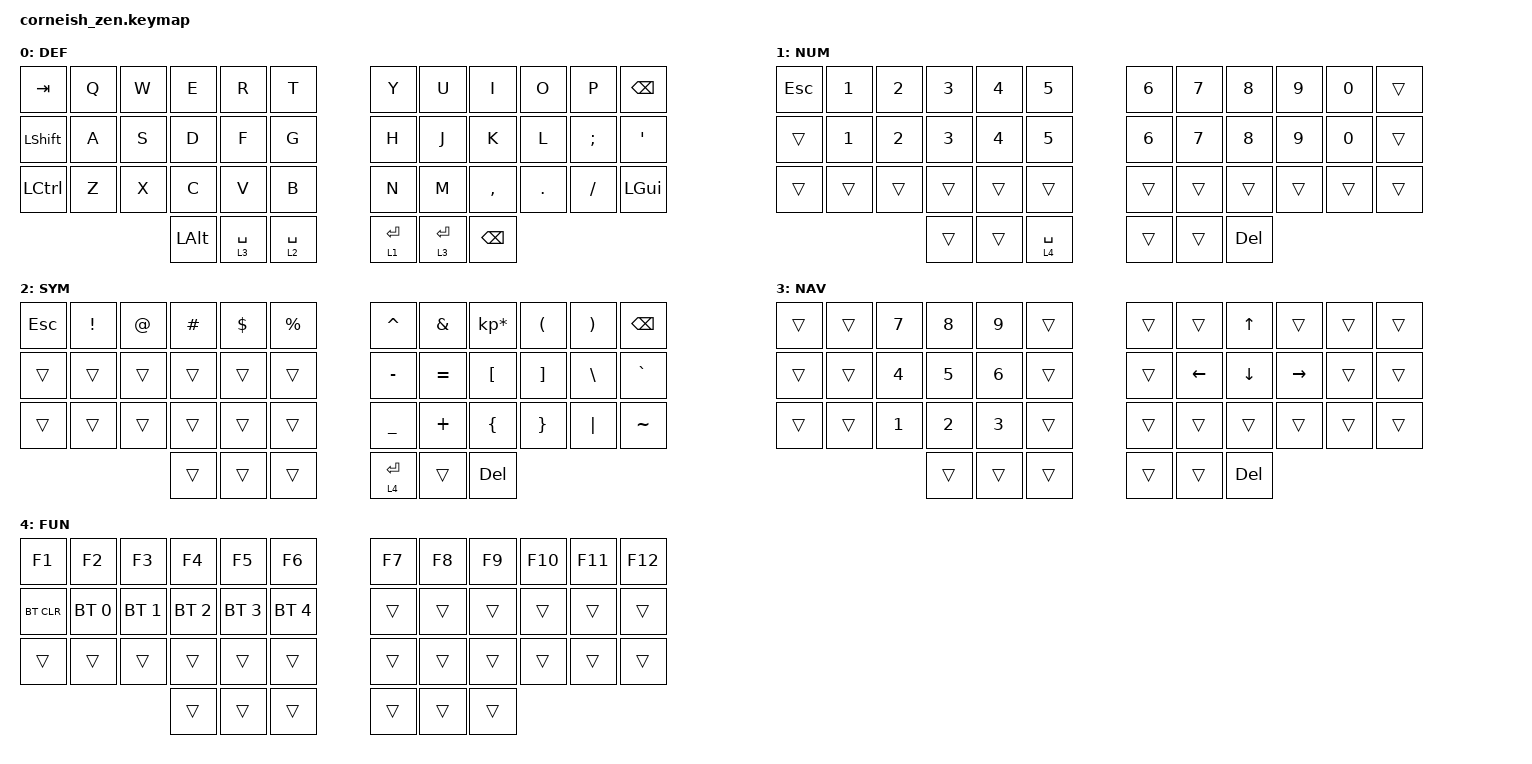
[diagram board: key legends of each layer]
/*
*
* Copyright (c) 2021 Darryl deHaan
* SPDX-License-Identifier: MIT
*
*/

#include <behaviors.dtsi>
#include <dt-bindings/zmk/keys.h>
#include <dt-bindings/zmk/bt.h>
#include <dt-bindings/zmk/outputs.h>

// Layer aliases
#define DEF 0
#define NUM 1
#define SYM 2
#define NAV 3
#define FUN 4

#define QUICK_TAP_MS 175

&mt {
  quick-tap-ms = <80>;
//   global-quick-tap;
  flavor = "balanced";
  tapping-term-ms = <150>;
};

&sk {
		// don't release mods on other mods presses
    ignore-modifiers;
};

&lt {  // layer-tap config
    flavor = "balanced";
    tapping-term-ms = <200>;
    quick-tap-ms = <QUICK_TAP_MS>;
};

/ {

        combos {
            compatible = "zmk,combos";
            combo_n1 {
                timeout-ms = <40>;
                key-positions = <1 13>;
                bindings = <&kp N1>;
            };
            combo_n2 {
                timeout-ms = <40>;
                key-positions = <2 14>;
                bindings = <&kp N2>;
            };
            combo_n3 {
                timeout-ms = <40>;
                key-positions = <3 15>;
                bindings = <&kp N3>;
            };
            combo_n4 {
                timeout-ms = <40>;
                key-positions = <4 16>;
                bindings = <&kp N4>;
            };
            combo_n5 {
                timeout-ms = <40>;
                key-positions = <5 17>;
                bindings = <&kp N5>;
            };
            combo_n6 {
                timeout-ms = <40>;
                key-positions = <6 18>;
                bindings = <&kp N6>;
            }; 
            combo_n7 {
                timeout-ms = <40>;
                key-positions = <7 19>;
                bindings = <&kp N7>;
            }; 
            combo_n8 {
                timeout-ms = <40>;
                key-positions = <8 20>;
                bindings = <&kp N8>;
            }; 
            combo_n9 {
                timeout-ms = <40>;
                key-positions = <9 21>;
                bindings = <&kp N9>;
            }; 
            combo_n0 {
                timeout-ms = <40>;
                key-positions = <10 22>;
                bindings = <&kp N0>;
            };
            combo_minus {
                timeout-ms = <25>;
                key-positions = <18 19>;
                bindings = <&kp MINUS>;
            };
            combo_equal {
                timeout-ms = <25>;
                key-positions = <30 31>;
                bindings = <&kp EQUAL>;
            };
            combo_undo {
			    timeout-ms = <25>;
			    key-positions = <26 27>;
			    bindings = <&kp LC(Z)>;
		};
    };
        behaviors {
            am: alpha_mods {
            compatible = "zmk,behavior-hold-tap";
            label = "ALPHA_MT";
            #binding-cells = <2>;
            tapping-term-ms = <250>;
            quick-tap-ms = <150>;
            flavor = "tap-preferred";
            bindings = <&kp>, <&kp>;
        };
        as: alpha_shift {
            compatible = "zmk,behavior-hold-tap";
            label = "ALPHA_SFT";
            #binding-cells = <2>;
            tapping-term-ms = <200>;
            quick-tap-ms = <150>;
            flavor = "tap-preferred";
            bindings = <&kp>, <&kp>;
        };

        // Easy alt-tab with alt+backspace thumb using mod-morphs
        bstab: backspace_tab {
            compatible = "zmk,behavior-mod-morph";
            label = "BSPC_TAB";
            #binding-cells = <0>;
            bindings = <&kp BSPC>, <&kp TAB>;
            mods = <MOD_LALT>;
        };
        lt_bspc: layer_tap_backspace_tab {
            compatible = "zmk,behavior-hold-tap";
            label = "LT_BT";
            #binding-cells = <2>;
            tapping-term-ms = <150>;
            flavor = "balanced";
            bindings = <&mo>, <&bstab>;
        };
    };
        keymap {
                compatible = "zmk,keymap";

                default_layer {
                        label = "DEF";
                        bindings = <
   &kp TAB   &kp Q       &kp W         &kp E         &kp R         &kp T         &kp Y      &kp U       &kp I          &kp O        &kp P          &kp BSPC
   &kp LSHFT &kp A       &kp S         &kp D         &kp F         &kp G         &kp H      &kp J       &kp K          &kp L        &kp SEMI       &kp SQT
   &kp LCTRL &kp Z       &kp X         &kp C         &kp V         &kp B         &kp N      &kp M       &kp COMMA      &kp DOT      &kp FSLH       &kp LGUI
                                       &kp LALT      &lt 3 SPACE   &lt 2 SPACE   &lt 1 RET  &lt 3 RET   &kp BSPC
                        >;
                };
                number_layer {
                        label = "NUM";
                        bindings = <
   &kp ESC    &kp N1       &kp N2       &kp N3       &kp N4        &kp N5        &kp N6     &kp N7      &kp N8      &kp N9    &kp N0 &trans
   &trans     &kp N1       &kp N2       &kp N3       &kp N4        &kp N5        &kp N6     &kp N7      &kp N8      &kp N9    &kp N0 &trans
   &trans     &trans       &trans       &trans       &trans        &trans        &trans     &trans      &trans      &trans    &trans &trans
                          	            &trans       &trans        &lt 4 SPACE   &trans     &trans      &kp DEL
                        >;
                };

                symbol_layer {
                        label = "SYM";
                        bindings = <
   &kp ESC   &kp EXCL    &kp AT      &kp HASH     &kp DLLR      &kp PRCNT    &kp CARET    &kp AMPS     &kp KP_MULTIPLY &kp LPAR &kp RPAR &kp BSPC
   &trans    &trans      &trans      &trans       &trans        &trans       &kp MINUS    &kp EQUAL    &kp LBKT        &kp RBKT &kp BSLH &kp GRAVE
   &trans    &trans      &trans      &trans       &trans        &trans       &kp UNDER    &kp PLUS     &kp LBRC        &kp RBRC &kp PIPE &kp TILDE
                    	             &trans       &trans        &trans       &lt 4 RET    &trans       &kp DEL
                        >;
                };

                nav_layer {
                        label = "NAV";
                        bindings = <
   &trans    &trans   &kp N7        &kp N8      &kp N9          &trans      &trans      &trans      &kp UP      &trans      &trans  &trans
   &trans    &trans   &kp N4        &kp N5      &kp N6          &trans      &trans      &kp LEFT    &kp DOWN    &kp RIGHT   &trans  &trans
   &trans    &trans   &kp N1        &kp N2      &kp N3          &trans      &trans      &trans      &trans      &trans      &trans  &trans
                    	            &trans      &trans          &trans      &trans      &trans      &kp DEL
                        >;
                };
                
                func_layer {
                        label = "FUN";
                        bindings = <
   &kp F1       &kp F2          &kp F3          &kp F4          &kp F5          &kp F6          &kp F7      &kp F8      &kp F9      &kp F10   &kp F11     &kp F12
   &bt BT_CLR   &bt BT_SEL 0    &bt BT_SEL 1    &bt BT_SEL 2    &bt BT_SEL 3    &bt BT_SEL 4    &trans      &trans      &trans      &trans    &trans      &trans
   &trans       &trans          &trans          &trans          &trans          &trans          &trans      &trans      &trans      &trans    &trans      &trans
                    	                        &trans          &trans          &trans          &trans      &trans      &trans
                        >;
                };
        };
};
